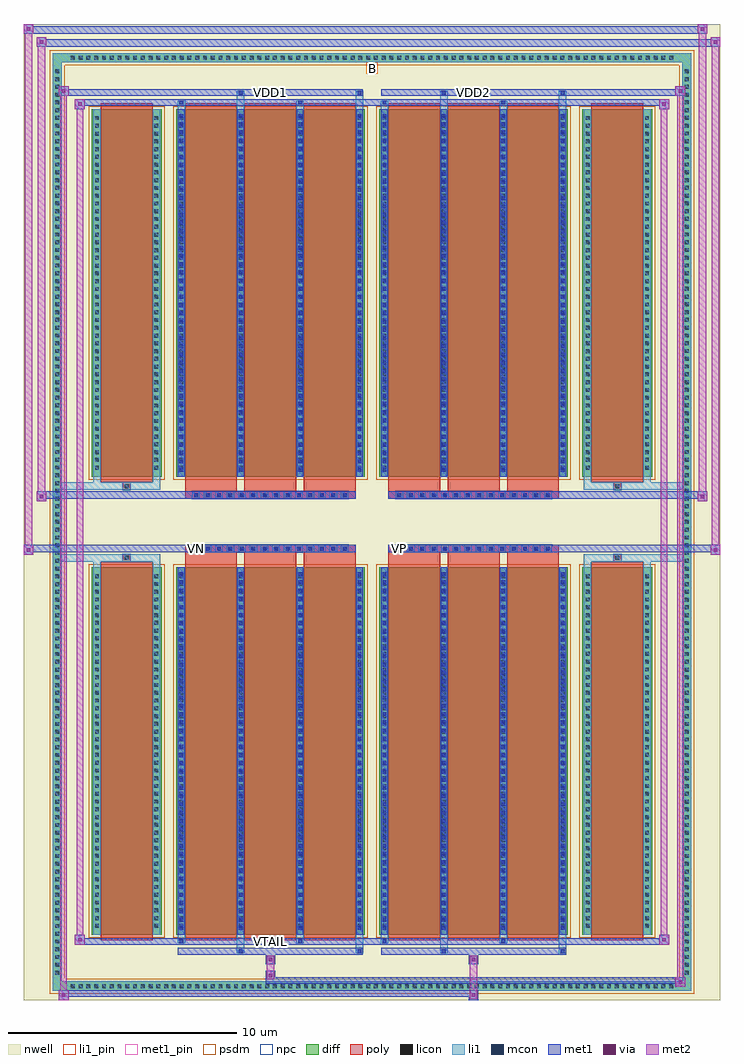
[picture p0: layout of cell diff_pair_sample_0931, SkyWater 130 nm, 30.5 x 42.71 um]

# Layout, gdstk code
import gdstk
lib = gdstk.Library(unit=1e-6, precision=5e-09)
def R(c, l, rs):  # rectangles x0, y0, x1, y1
    for r in rs: c.add(gdstk.rectangle(r[:2], r[2:], *l))
def A(c, l, x, y, w, h, nx, ny, dx, dy):  # array of equal rectangles
    R(c, l, [(x+i*dx, y+j*dy, x+i*dx+w, y+j*dy+h) for i in range(nx) for j in range(ny)])
def P(c, l, *ps):  # polygons
    for p in ps: c.add(gdstk.Polygon(p, *l))
nwell = (64, 20)
diff = (65, 20)
poly = (66, 20)
licon = (66, 44)
li1_pin = (67, 16)
li1 = (67, 20)
mcon = (67, 44)
met1_pin = (68, 16)
met1 = (68, 20)
via = (68, 44)
met2 = (69, 20)
psdm = (94, 20)
npc = (95, 20)

diff_pair_sample_0931 = lib.new_cell('diff_pair_sample_0931')
R(diff_pair_sample_0931, nwell, [(-15.25,-20.92,15.25,21.79), (-12.57,-19.11,-0.01,-0.805), (0.01,-19.11,12.57,-0.805), (-12.57,0.805,-0.01,19.11), (0.01,0.805,12.57,19.11)])
A(diff_pair_sample_0931, diff, -13.295, -20.52, 0.41, 0.41, 78, 2, 0.34, 40.63)
A(diff_pair_sample_0931, diff, -13.98, -19.925, 0.41, 0.41, 1, 117, 0, 0.34)
A(diff_pair_sample_0931, diff, 13.57, -19.925, 0.41, 0.41, 1, 117, 0, 0.34)
R(diff_pair_sample_0931, diff, [(-13.295,-20.52,13.295,-20.11), (-13.98,-19.925,-13.57,19.925), (13.57,-19.925,13.98,19.925), (-12.26,-18.065,-9.21,-1.985), (-8.57,-18.065,-0.32,-1.985), (0.32,-18.065,8.57,-1.985), (9.21,-18.065,12.26,-1.985), (-12.26,1.985,-9.21,18.065), (-8.57,1.985,-0.32,18.065), (0.32,1.985,8.57,18.065), (9.21,1.985,12.26,18.065), (-13.295,20.11,13.295,20.52)])
P(diff_pair_sample_0931, diff, [(13.98,20.52),(-13.98,20.52),(-13.98,-20.11),(-13.57,-20.11),(-13.57,20.11),(13.57,20.11),(13.57,-20.11),(-13.57,-20.11),(-13.98,-20.11),(-13.98,-20.52),(13.98,-20.52)])
A(diff_pair_sample_0931, poly, -8.18, -18.315, 2.27, 16.58, 3, 2, 2.6, 20.05)
A(diff_pair_sample_0931, poly, 0.71, -18.315, 2.27, 16.58, 3, 2, 2.6, 20.05)
A(diff_pair_sample_0931, poly, -8.18, -1.735, 2.27, 0.4, 3, 2, 2.6, 3.07)
A(diff_pair_sample_0931, poly, 0.71, -1.735, 2.27, 0.4, 3, 2, 2.6, 3.07)
A(diff_pair_sample_0931, poly, -7.86, -1.335, 0.33, 0.33, 14, 2, 0.5, 2.34)
A(diff_pair_sample_0931, poly, 1.03, -1.335, 0.33, 0.33, 14, 2, 0.5, 2.34)
R(diff_pair_sample_0931, poly, [(-11.87,-18.315,-9.6,-1.735), (9.6,-18.315,11.87,-1.735), (-10.9,-1.735,-10.57,-1.405), (-10.9,-1.735,-10.57,-1.405), (10.57,-1.735,10.9,-1.405), (10.57,-1.735,10.9,-1.405), (-8.18,-1.335,-0.71,-1.005), (0.71,-1.335,8.18,-1.005), (-8.18,1.005,-0.71,1.335), (0.71,1.005,8.18,1.335), (-10.9,1.405,-10.57,1.735), (-10.9,1.405,-10.57,1.735), (10.57,1.405,10.9,1.735), (10.57,1.405,10.9,1.735), (-11.87,1.735,-9.6,18.315), (9.6,1.735,11.87,18.315)])
A(diff_pair_sample_0931, licon, -13.175, -20.4, 0.17, 0.17, 78, 2, 0.34, 40.63)
A(diff_pair_sample_0931, licon, -13.86, -19.805, 0.17, 0.17, 1, 117, 0, 0.34)
A(diff_pair_sample_0931, licon, 13.69, -19.805, 0.17, 0.17, 1, 117, 0, 0.34)
A(diff_pair_sample_0931, licon, -12.12, -17.76, 0.17, 0.17, 1, 46, 0, 0.34)
A(diff_pair_sample_0931, licon, -9.52, -17.76, 0.17, 0.17, 1, 46, 0, 0.34)
A(diff_pair_sample_0931, licon, -8.43, -17.76, 0.17, 0.17, 4, 46, 2.6, 0.34)
A(diff_pair_sample_0931, licon, 0.46, -17.76, 0.17, 0.17, 4, 46, 2.6, 0.34)
A(diff_pair_sample_0931, licon, 9.35, -17.76, 0.17, 0.17, 1, 46, 0, 0.34)
A(diff_pair_sample_0931, licon, 11.95, -17.76, 0.17, 0.17, 1, 46, 0, 0.34)
A(diff_pair_sample_0931, licon, -7.78, -1.255, 0.17, 0.17, 14, 2, 0.5, 2.34)
A(diff_pair_sample_0931, licon, 1.11, -1.255, 0.17, 0.17, 14, 2, 0.5, 2.34)
A(diff_pair_sample_0931, licon, -12.12, 2.29, 0.17, 0.17, 1, 46, 0, 0.34)
A(diff_pair_sample_0931, licon, -9.52, 2.29, 0.17, 0.17, 1, 46, 0, 0.34)
A(diff_pair_sample_0931, licon, -8.43, 2.29, 0.17, 0.17, 4, 46, 2.6, 0.34)
A(diff_pair_sample_0931, licon, 0.46, 2.29, 0.17, 0.17, 4, 46, 2.6, 0.34)
A(diff_pair_sample_0931, licon, 9.35, 2.29, 0.17, 0.17, 1, 46, 0, 0.34)
A(diff_pair_sample_0931, licon, 11.95, 2.29, 0.17, 0.17, 1, 46, 0, 0.34)
R(diff_pair_sample_0931, licon, [(-10.82,-1.655,-10.65,-1.485), (10.65,-1.655,10.82,-1.485), (-10.82,1.485,-10.65,1.655), (10.65,1.485,10.82,1.655)])
R(diff_pair_sample_0931, li1_pin, [(-0.25,19.61,0.25,20.11)])
A(diff_pair_sample_0931, li1, -13.255, -20.48, 0.33, 0.33, 78, 2, 0.34, 40.63)
A(diff_pair_sample_0931, li1, -13.94, -19.885, 0.33, 0.33, 1, 117, 0, 0.34)
A(diff_pair_sample_0931, li1, 13.61, -19.885, 0.33, 0.33, 1, 117, 0, 0.34)
A(diff_pair_sample_0931, li1, -8.51, -18.065, 0.33, 16.08, 4, 2, 2.6, 20.05)
A(diff_pair_sample_0931, li1, 0.38, -18.065, 0.33, 16.08, 4, 2, 2.6, 20.05)
A(diff_pair_sample_0931, li1, -8.43, -17.85, 0.17, 0.17, 4, 44, 2.6, 0.36)
A(diff_pair_sample_0931, li1, -8.43, -17.85, 0.17, 15.65, 4, 2, 2.6, 20.05)
A(diff_pair_sample_0931, li1, 0.46, -17.85, 0.17, 0.17, 4, 44, 2.6, 0.36)
A(diff_pair_sample_0931, li1, 0.46, -17.85, 0.17, 15.65, 4, 2, 2.6, 20.05)
A(diff_pair_sample_0931, li1, -12.2, -17.84, 0.33, 0.33, 1, 46, 0, 0.34)
A(diff_pair_sample_0931, li1, -9.6, -17.84, 0.33, 0.33, 1, 46, 0, 0.34)
A(diff_pair_sample_0931, li1, -8.51, -17.84, 0.33, 0.33, 4, 46, 2.6, 0.34)
A(diff_pair_sample_0931, li1, 0.38, -17.84, 0.33, 0.33, 4, 46, 2.6, 0.34)
A(diff_pair_sample_0931, li1, 9.27, -17.84, 0.33, 0.33, 1, 46, 0, 0.34)
A(diff_pair_sample_0931, li1, 11.87, -17.84, 0.33, 0.33, 1, 46, 0, 0.34)
A(diff_pair_sample_0931, li1, -7.86, -1.335, 0.33, 0.33, 14, 2, 0.5, 2.34)
A(diff_pair_sample_0931, li1, 1.03, -1.335, 0.33, 0.33, 14, 2, 0.5, 2.34)
A(diff_pair_sample_0931, li1, -8.43, 2.2, 0.17, 0.17, 4, 44, 2.6, 0.36)
A(diff_pair_sample_0931, li1, 0.46, 2.2, 0.17, 0.17, 4, 44, 2.6, 0.36)
A(diff_pair_sample_0931, li1, -12.2, 2.21, 0.33, 0.33, 1, 46, 0, 0.34)
A(diff_pair_sample_0931, li1, -9.6, 2.21, 0.33, 0.33, 1, 46, 0, 0.34)
A(diff_pair_sample_0931, li1, -8.51, 2.21, 0.33, 0.33, 4, 46, 2.6, 0.34)
A(diff_pair_sample_0931, li1, 0.38, 2.21, 0.33, 0.33, 4, 46, 2.6, 0.34)
A(diff_pair_sample_0931, li1, 9.27, 2.21, 0.33, 0.33, 1, 46, 0, 0.34)
A(diff_pair_sample_0931, li1, 11.87, 2.21, 0.33, 0.33, 1, 46, 0, 0.34)
R(diff_pair_sample_0931, li1, [(-13.98,-20.52,-13.57,-20.11), (-13.98,-20.52,-13.57,-20.11), (-13.57,-20.52,13.57,-20.11), (13.57,-20.52,13.98,-20.11), (13.57,-20.52,13.98,-20.11), (-13.98,-20.11,-13.57,20.11), (13.57,-20.11,13.98,20.11), (-5.91,-18.87,-5.58,-18.065), (-5.83,-18.87,-5.66,-18.7), (-0.71,-18.87,-0.38,-18.065), (-0.63,-18.87,-0.46,-18.7), (2.98,-18.87,3.31,-18.065), (3.06,-18.87,3.23,-18.7), (8.18,-18.87,8.51,-18.065), (8.26,-18.87,8.43,-18.7), (-8.51,-18.44,-8.18,-18.065), (-8.43,-18.44,-8.26,-18.27), (-3.31,-18.44,-2.98,-18.065), (-3.23,-18.44,-3.06,-18.27), (0.38,-18.44,0.71,-18.065), (0.46,-18.44,0.63,-18.27), (5.58,-18.44,5.91,-18.065), (5.66,-18.44,5.83,-18.27), (-12.2,-18.065,-11.87,-1.985), (-9.6,-18.065,-9.27,-1.985), (9.27,-18.065,9.6,-1.985), (11.87,-18.065,12.2,-1.985), (-12.2,-1.985,-11.87,-1.405), (-9.6,-1.985,-9.27,-1.405), (9.27,-1.985,9.6,-1.405), (11.87,-1.985,12.2,-1.405), (-13.98,-1.735,-10.9,-1.405), (-12.2,-1.735,-10.9,-1.405), (-10.9,-1.735,-10.57,-1.405), (-10.57,-1.735,-9.27,-1.405), (9.27,-1.735,10.57,-1.405), (10.57,-1.735,10.9,-1.405), (10.57,-1.735,13.98,-1.405), (10.9,-1.735,12.2,-1.405), (-13.98,1.405,-10.9,1.735), (-12.2,1.405,-10.9,1.735), (-12.2,1.405,-11.87,1.985), (-10.9,1.405,-10.57,1.735), (-10.57,1.405,-9.27,1.735), (-9.6,1.405,-9.27,1.985), (9.27,1.405,10.57,1.735), (9.27,1.405,9.6,1.985), (10.57,1.405,10.9,1.735), (10.57,1.405,13.98,1.735), (10.9,1.405,12.2,1.735), (11.87,1.405,12.2,1.985), (-12.2,1.985,-11.87,18.065), (-9.6,1.985,-9.27,18.065), (9.27,1.985,9.6,18.065), (11.87,1.985,12.2,18.065), (-8.51,18.065,-8.18,18.44), (-5.91,18.065,-5.58,18.87), (-3.31,18.065,-2.98,18.44), (-0.71,18.065,-0.38,18.87), (0.38,18.065,0.71,18.44), (2.98,18.065,3.31,18.87), (5.58,18.065,5.91,18.44), (8.18,18.065,8.51,18.87), (-8.43,18.27,-8.26,18.44), (-3.23,18.27,-3.06,18.44), (0.46,18.27,0.63,18.44), (5.66,18.27,5.83,18.44), (-5.83,18.7,-5.66,18.87), (-0.63,18.7,-0.46,18.87), (3.06,18.7,3.23,18.87), (8.26,18.7,8.43,18.87), (-13.98,20.11,-13.57,20.52), (-13.98,20.11,-13.57,20.52), (-13.57,20.11,13.57,20.52), (13.57,20.11,13.98,20.52), (13.57,20.11,13.98,20.52)])
A(diff_pair_sample_0931, mcon, -8.43, -17.85, 0.17, 0.17, 4, 44, 2.6, 0.36)
A(diff_pair_sample_0931, mcon, 0.46, -17.85, 0.17, 0.17, 4, 44, 2.6, 0.36)
A(diff_pair_sample_0931, mcon, -7.78, -1.255, 0.17, 0.17, 14, 2, 0.5, 2.34)
A(diff_pair_sample_0931, mcon, 1.11, -1.255, 0.17, 0.17, 14, 2, 0.5, 2.34)
A(diff_pair_sample_0931, mcon, -8.43, 2.2, 0.17, 0.17, 4, 44, 2.6, 0.36)
A(diff_pair_sample_0931, mcon, 0.46, 2.2, 0.17, 0.17, 4, 44, 2.6, 0.36)
R(diff_pair_sample_0931, mcon, [(-5.83,-18.87,-5.66,-18.7), (-0.63,-18.87,-0.46,-18.7), (3.06,-18.87,3.23,-18.7), (8.26,-18.87,8.43,-18.7), (-8.43,-18.44,-8.26,-18.27), (-3.23,-18.44,-3.06,-18.27), (0.46,-18.44,0.63,-18.27), (5.66,-18.44,5.83,-18.27), (-8.43,18.27,-8.26,18.44), (-3.23,18.27,-3.06,18.44), (0.46,18.27,0.63,18.44), (5.66,18.27,5.83,18.44), (-5.83,18.7,-5.66,18.87), (-0.63,18.7,-0.46,18.87), (3.06,18.7,3.23,18.87), (8.26,18.7,8.43,18.87)])
R(diff_pair_sample_0931, met1_pin, [(-4.58,-18.48,-4.31,-18.21), (-7.83,-1.295,-7.56,-1.025), (1.06,-1.295,1.33,-1.025), (-4.58,18.66,-4.31,18.93), (4.31,18.66,4.58,18.93)])
A(diff_pair_sample_0931, met1, -8.49, -18.065, 0.29, 16.08, 4, 2, 2.6, 20.05)
A(diff_pair_sample_0931, met1, 0.4, -18.065, 0.29, 16.08, 4, 2, 2.6, 20.05)
A(diff_pair_sample_0931, met1, -8.49, -17.91, 0.29, 0.29, 4, 44, 2.6, 0.36)
A(diff_pair_sample_0931, met1, 0.4, -17.91, 0.29, 0.29, 4, 44, 2.6, 0.36)
A(diff_pair_sample_0931, met1, -7.84, -1.315, 0.29, 0.29, 14, 2, 0.5, 2.34)
A(diff_pair_sample_0931, met1, 1.05, -1.315, 0.29, 0.29, 14, 2, 0.5, 2.34)
A(diff_pair_sample_0931, met1, -8.49, 2.14, 0.29, 0.29, 4, 44, 2.6, 0.36)
A(diff_pair_sample_0931, met1, 0.4, 2.14, 0.29, 0.29, 4, 44, 2.6, 0.36)
R(diff_pair_sample_0931, met1, [(-13.71,-20.92,-13.28,-20.49), (4.23,-20.92,4.66,-20.49), (-13.71,-20.78,4.66,-20.49), (13.28,-20.35,13.71,-19.92), (-4.66,-20.21,13.71,-19.92), (-4.66,-20.07,-4.23,-19.64), (-4.66,-19.36,-4.23,-18.93), (4.23,-19.36,4.66,-18.93), (-8.49,-18.93,-0.4,-18.64), (-5.89,-18.93,-5.6,-18.64), (-0.69,-18.93,-0.4,-18.64), (0.4,-18.93,8.49,-18.64), (3,-18.93,3.29,-18.64), (8.2,-18.93,8.49,-18.64), (-13,-18.5,-12.57,-18.07), (-13,-18.5,-8.49,-18.21), (-8.49,-18.5,-8.2,-18.21), (-8.49,-18.5,-0.4,-18.21), (-3.29,-18.5,-3,-18.21), (-0.4,-18.5,0.4,-18.21), (0.4,-18.5,0.69,-18.21), (0.4,-18.5,8.49,-18.21), (5.6,-18.5,5.89,-18.21), (8.49,-18.5,13,-18.21), (12.57,-18.5,13,-18.07), (-15.25,-1.435,-14.82,-1.005), (14.82,-1.435,15.25,-1.005), (-15.25,-1.335,-0.71,-1.005), (-8.18,-1.335,-0.71,-1.005), (0.71,-1.335,8.18,-1.005), (0.71,-1.335,15.25,-1.005), (-14.68,0.905,-14.25,1.335), (14.25,0.905,14.68,1.335), (-14.68,1.005,-8.18,1.335), (-8.18,1.005,-0.71,1.335), (0.71,1.005,8.18,1.335), (8.18,1.005,14.68,1.335), (-13,18.07,-12.57,18.5), (12.57,18.07,13,18.5), (-13,18.21,-8.49,18.5), (-8.49,18.21,-8.2,18.5), (-8.49,18.21,-0.4,18.5), (-3.29,18.21,-3,18.5), (-0.4,18.21,0.4,18.5), (0.4,18.21,0.69,18.5), (0.4,18.21,8.49,18.5), (5.6,18.21,5.89,18.5), (8.49,18.21,13,18.5), (-13.71,18.64,-13.28,19.07), (-13.71,18.64,-8.49,18.93), (-8.49,18.64,-0.4,18.93), (-5.89,18.64,-5.6,18.93), (-0.69,18.64,-0.4,18.93), (0.4,18.64,8.49,18.93), (3,18.64,3.29,18.93), (8.2,18.64,8.49,18.93), (8.49,18.64,13.71,18.93), (13.28,18.64,13.71,19.07), (-14.68,20.79,-14.25,21.22), (-14.68,20.79,-12.57,21.12), (-12.57,20.79,12.57,21.12), (12.57,20.79,15.25,21.12), (14.82,20.79,15.25,21.22), (-15.25,21.36,-14.82,21.79), (-15.25,21.36,-12.57,21.69), (-12.57,21.36,12.57,21.69), (12.57,21.36,14.68,21.69), (14.25,21.36,14.68,21.79)])
R(diff_pair_sample_0931, via, [(-13.57,-20.78,-13.42,-20.63), (4.37,-20.78,4.52,-20.63), (13.42,-20.21,13.57,-20.06), (-4.52,-19.93,-4.37,-19.78), (-4.52,-19.22,-4.37,-19.07), (4.37,-19.22,4.52,-19.07), (-12.86,-18.36,-12.71,-18.21), (12.71,-18.36,12.86,-18.21), (-15.11,-1.295,-14.96,-1.145), (14.96,-1.295,15.11,-1.145), (-14.54,1.045,-14.39,1.195), (14.39,1.045,14.54,1.195), (-12.86,18.21,-12.71,18.36), (12.71,18.21,12.86,18.36), (-13.57,18.78,-13.42,18.93), (13.42,18.78,13.57,18.93), (-14.54,20.93,-14.39,21.08), (14.96,20.93,15.11,21.08), (-15.11,21.5,-14.96,21.65), (14.39,21.5,14.54,21.65)])
R(diff_pair_sample_0931, met2, [(-13.71,-20.92,-13.28,-20.49), (-13.64,-20.92,-13.35,19.07), (-13.35,-20.92,-13.28,-20.49), (-13.66,-20.87,-13.33,-20.54), (4.28,-20.87,4.61,-20.54), (4.28,-20.54,4.61,-19.31), (13.28,-20.35,13.71,-19.92), (13.35,-20.35,13.64,19.07), (13.64,-20.35,13.71,-19.92), (13.33,-20.3,13.66,-19.97), (-4.61,-20.02,-4.28,-19.69), (-4.61,-19.69,-4.28,-19.31), (-4.61,-19.31,-4.28,-18.98), (4.28,-19.31,4.61,-18.98), (-13,-18.5,-12.57,-18.07), (-12.93,-18.5,-12.64,18.5), (-12.64,-18.5,-12.57,-18.07), (12.57,-18.5,13,-18.07), (12.64,-18.5,12.93,18.5), (12.93,-18.5,13,-18.07), (-12.95,-18.45,-12.62,-18.12), (12.62,-18.45,12.95,-18.12), (-15.25,-1.435,-14.82,-1.005), (-15.2,-1.435,-14.87,21.79), (-14.87,-1.435,-14.82,-1.005), (14.82,-1.435,15.25,-1.005), (14.87,-1.435,15.2,21.22), (15.2,-1.435,15.25,-1.005), (-15.2,-1.385,-14.87,-1.055), (14.87,-1.385,15.2,-1.055), (-14.68,0.905,-14.25,1.335), (-14.63,0.905,-14.3,21.22), (-14.3,0.905,-14.25,1.335), (14.25,0.905,14.68,1.335), (14.3,0.905,14.63,21.79), (14.63,0.905,14.68,1.335), (-14.63,0.955,-14.3,1.285), (14.3,0.955,14.63,1.285), (-13,18.07,-12.57,18.5), (-12.64,18.07,-12.57,18.5), (12.57,18.07,13,18.5), (12.93,18.07,13,18.5), (-12.95,18.12,-12.62,18.45), (12.62,18.12,12.95,18.45), (-13.71,18.64,-13.28,19.07), (-13.35,18.64,-13.28,19.07), (13.28,18.64,13.71,19.07), (13.64,18.64,13.71,19.07), (-13.66,18.69,-13.33,19.02), (13.33,18.69,13.66,19.02), (-14.68,20.79,-14.25,21.22), (-14.3,20.79,-14.25,21.22), (14.82,20.79,15.25,21.22), (15.2,20.79,15.25,21.22), (-14.63,20.84,-14.3,21.17), (14.87,20.84,15.2,21.17), (-15.25,21.36,-14.82,21.79), (-14.87,21.36,-14.82,21.79), (14.25,21.36,14.68,21.79), (14.63,21.36,14.68,21.79), (-15.2,21.41,-14.87,21.74), (14.3,21.41,14.63,21.74)])
R(diff_pair_sample_0931, psdm, [(-12.39,-18.195,-9.08,-1.855), (-8.7,-18.195,-0.19,-1.855), (0.19,-18.195,8.7,-1.855), (9.08,-18.195,12.39,-1.855), (-12.39,1.855,-9.08,18.195), (-8.7,1.855,-0.19,18.195), (0.19,1.855,8.7,18.195), (9.08,1.855,12.39,18.195)])
P(diff_pair_sample_0931, psdm, [(14.11,20.65),(-14.11,20.65),(-14.11,-19.98),(-13.44,-19.98),(-13.44,19.98),(13.44,19.98),(13.44,-19.98),(-13.44,-19.98),(-14.11,-19.98),(-14.11,-20.65),(14.11,-20.65)])
A(diff_pair_sample_0931, npc, -7.88, -1.355, 0.37, 0.37, 14, 2, 0.5, 2.34)
A(diff_pair_sample_0931, npc, 1.01, -1.355, 0.37, 0.37, 14, 2, 0.5, 2.34)
R(diff_pair_sample_0931, npc, [(-10.92,-1.755,-10.55,-1.385), (10.55,-1.755,10.92,-1.385), (-7.88,-1.355,-7.01,-0.985), (-7.88,-1.355,-7.01,-0.985), (-7.38,-1.355,-6.51,-0.985), (-7.38,-1.355,-6.51,-0.985), (-6.88,-1.355,-6.01,-0.985), (-6.88,-1.355,-6.01,-0.985), (-6.38,-1.355,-5.51,-0.985), (-6.38,-1.355,-5.51,-0.985), (-5.88,-1.355,-5.01,-0.985), (-5.88,-1.355,-5.01,-0.985), (-5.38,-1.355,-4.51,-0.985), (-5.38,-1.355,-4.51,-0.985), (-4.88,-1.355,-4.01,-0.985), (-4.88,-1.355,-4.01,-0.985), (-4.38,-1.355,-3.51,-0.985), (-4.38,-1.355,-3.51,-0.985), (-3.88,-1.355,-3.01,-0.985), (-3.88,-1.355,-3.01,-0.985), (-3.38,-1.355,-2.51,-0.985), (-3.38,-1.355,-2.51,-0.985), (-2.88,-1.355,-2.01,-0.985), (-2.88,-1.355,-2.01,-0.985), (-2.38,-1.355,-1.51,-0.985), (-2.38,-1.355,-1.51,-0.985), (-1.88,-1.355,-1.01,-0.985), (-1.88,-1.355,-1.01,-0.985), (1.01,-1.355,1.88,-0.985), (1.01,-1.355,1.88,-0.985), (1.51,-1.355,2.38,-0.985), (1.51,-1.355,2.38,-0.985), (2.01,-1.355,2.88,-0.985), (2.01,-1.355,2.88,-0.985), (2.51,-1.355,3.38,-0.985), (2.51,-1.355,3.38,-0.985), (3.01,-1.355,3.88,-0.985), (3.01,-1.355,3.88,-0.985), (3.51,-1.355,4.38,-0.985), (3.51,-1.355,4.38,-0.985), (4.01,-1.355,4.88,-0.985), (4.01,-1.355,4.88,-0.985), (4.51,-1.355,5.38,-0.985), (4.51,-1.355,5.38,-0.985), (5.01,-1.355,5.88,-0.985), (5.01,-1.355,5.88,-0.985), (5.51,-1.355,6.38,-0.985), (5.51,-1.355,6.38,-0.985), (6.01,-1.355,6.88,-0.985), (6.01,-1.355,6.88,-0.985), (6.51,-1.355,7.38,-0.985), (6.51,-1.355,7.38,-0.985), (7.01,-1.355,7.88,-0.985), (7.01,-1.355,7.88,-0.985), (-7.88,0.985,-7.01,1.355), (-7.88,0.985,-7.01,1.355), (-7.38,0.985,-6.51,1.355), (-7.38,0.985,-6.51,1.355), (-6.88,0.985,-6.01,1.355), (-6.88,0.985,-6.01,1.355), (-6.38,0.985,-5.51,1.355), (-6.38,0.985,-5.51,1.355), (-5.88,0.985,-5.01,1.355), (-5.88,0.985,-5.01,1.355), (-5.38,0.985,-4.51,1.355), (-5.38,0.985,-4.51,1.355), (-4.88,0.985,-4.01,1.355), (-4.88,0.985,-4.01,1.355), (-4.38,0.985,-3.51,1.355), (-4.38,0.985,-3.51,1.355), (-3.88,0.985,-3.01,1.355), (-3.88,0.985,-3.01,1.355), (-3.38,0.985,-2.51,1.355), (-3.38,0.985,-2.51,1.355), (-2.88,0.985,-2.01,1.355), (-2.88,0.985,-2.01,1.355), (-2.38,0.985,-1.51,1.355), (-2.38,0.985,-1.51,1.355), (-1.88,0.985,-1.01,1.355), (-1.88,0.985,-1.01,1.355), (1.01,0.985,1.88,1.355), (1.01,0.985,1.88,1.355), (1.51,0.985,2.38,1.355), (1.51,0.985,2.38,1.355), (2.01,0.985,2.88,1.355), (2.01,0.985,2.88,1.355), (2.51,0.985,3.38,1.355), (2.51,0.985,3.38,1.355), (3.01,0.985,3.88,1.355), (3.01,0.985,3.88,1.355), (3.51,0.985,4.38,1.355), (3.51,0.985,4.38,1.355), (4.01,0.985,4.88,1.355), (4.01,0.985,4.88,1.355), (4.51,0.985,5.38,1.355), (4.51,0.985,5.38,1.355), (5.01,0.985,5.88,1.355), (5.01,0.985,5.88,1.355), (5.51,0.985,6.38,1.355), (5.51,0.985,6.38,1.355), (6.01,0.985,6.88,1.355), (6.01,0.985,6.88,1.355), (6.51,0.985,7.38,1.355), (6.51,0.985,7.38,1.355), (7.01,0.985,7.88,1.355), (7.01,0.985,7.88,1.355), (-10.92,1.385,-10.55,1.755), (10.55,1.385,10.92,1.755)])
diff_pair_sample_0931.add(gdstk.Label('VTAIL', (-4.445,-18.345), layer=68, texttype=5))
diff_pair_sample_0931.add(gdstk.Label('VN', (-7.695,-1.16), layer=68, texttype=5))
diff_pair_sample_0931.add(gdstk.Label('VP', (1.195,-1.16), layer=68, texttype=5))
diff_pair_sample_0931.add(gdstk.Label('B', (0,19.86), layer=67, texttype=5))
diff_pair_sample_0931.add(gdstk.Label('VDD2', (4.445,18.795), layer=68, texttype=5))
diff_pair_sample_0931.add(gdstk.Label('VDD1', (-4.445,18.795), layer=68, texttype=5))

lib.write_gds('diff_pair_sample_0931.gds')
